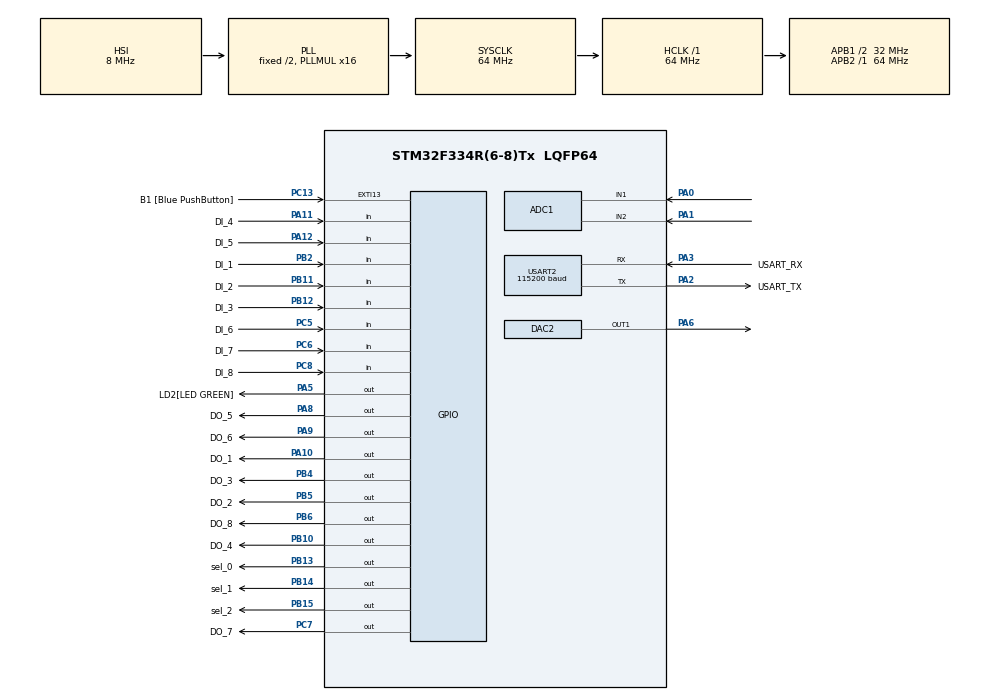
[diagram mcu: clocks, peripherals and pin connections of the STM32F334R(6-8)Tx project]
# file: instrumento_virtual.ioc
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ADC1.Channel-2\#ChannelRegularConversion=ADC_CHANNEL_1
ADC1.NbrOfConversionFlag=1
ADC1.Offset-2\#ChannelRegularConversion=0
ADC1.OffsetNumber-2\#ChannelRegularConversion=ADC_OFFSET_NONE
ADC1.Rank-2\#ChannelRegularConversion=1
ADC1.SamplingTime-2\#ChannelRegularConversion=ADC_SAMPLETIME_1CYCLE_5
ADC1.SubFamily=STM32F334x8
ADC1.master=1
Dma.Request0=USART2_TX
Dma.USART2_TX.0.Direction=DMA_MEMORY_TO_PERIPH
Dma.USART2_TX.0.Instance=DMA1_Channel7
Dma.USART2_TX.0.MemDataAlignment=DMA_MDATAALIGN_BYTE
Dma.USART2_TX.0.MemInc=DMA_MINC_ENABLE
Dma.USART2_TX.0.Mode=DMA_NORMAL
Dma.USART2_TX.0.PeriphDataAlignment=DMA_PDATAALIGN_BYTE
Dma.USART2_TX.0.PeriphInc=DMA_PINC_DISABLE
Dma.USART2_TX.0.Priority=DMA_PRIORITY_LOW
Mcu.Family=STM32F3
Mcu.Name=STM32F334R(6-8)Tx
Mcu.Package=LQFP64
NVIC.DMA1_Channel7_IRQn=true\:0\:0\:false\:false\:true\:true\:true\:true
NVIC.PriorityGroup=NVIC_PRIORITYGROUP_0
NVIC.TIM6_DAC1_IRQn=true\:0\:0\:false\:false\:true\:true\:true\:true
NVIC.USART2_IRQn=true\:0\:0\:false\:false\:true\:true\:true\:true
PA0.Mode=IN1-Single-Ended
PA0.Signal=ADC1_IN1
PA1.Mode=IN2-Single-Ended
PA1.Signal=ADC1_IN2
PA10.GPIO_Label=DO_1
PA10.Signal=GPIO_Output
PA11.GPIO_Label=DI_4
PA11.GPIO_PuPd=GPIO_PULLDOWN
PA11.Signal=GPIO_Input
PA12.GPIO_Label=DI_5
PA12.GPIO_PuPd=GPIO_PULLDOWN
PA12.Signal=GPIO_Input
PA13.GPIO_Label=TMS
PA13.Signal=SYS_JTMS-SWDIO
PA14.GPIO_Label=TCK
PA14.Signal=SYS_JTCK-SWCLK
PA2.GPIO_Label=USART_TX
PA2.Mode=Asynchronous
PA2.Signal=USART2_TX
PA3.GPIO_Label=USART_RX
PA3.Mode=Asynchronous
PA3.Signal=USART2_RX
PA5.GPIO_Label=LD2[LED GREEN]
PA5.Signal=GPIO_Output
PA6.Signal=COMP_DAC21_group
PA8.GPIO_Label=DO_5
PA8.Signal=GPIO_Output
PA9.GPIO_Label=DO_6
PA9.Signal=GPIO_Output
PB10.GPIO_Label=DO_4
PB10.Signal=GPIO_Output
PB11.GPIO_Label=DI_2
PB11.GPIO_PuPd=GPIO_PULLDOWN
PB11.Signal=GPIO_Input
PB12.GPIO_Label=DI_3
PB12.GPIO_PuPd=GPIO_PULLDOWN
PB12.Signal=GPIO_Input
PB13.GPIO_Label=sel_0
PB13.Signal=GPIO_Output
PB14.GPIO_Label=sel_1
PB14.Signal=GPIO_Output
PB15.GPIO_Label=sel_2
PB15.Signal=GPIO_Output
PB2.GPIO_Label=DI_1
PB2.GPIO_PuPd=GPIO_PULLDOWN
PB2.Signal=GPIO_Input
PB3.GPIO_Label=SWO
PB3.Signal=SYS_JTDO-TRACESWO
PB4.GPIO_Label=DO_3
PB4.Signal=GPIO_Output
PB5.GPIO_Label=DO_2
PB5.Signal=GPIO_Output
PB6.GPIO_Label=DO_8
PB6.Signal=GPIO_Output
PC13.GPIO_Label=B1 [Blue PushButton]
PC13.GPIO_ModeDefaultEXTI=GPIO_MODE_IT_FALLING
PC13.Signal=GPXTI13
PC14\ /\ OSC32_IN.Signal=RCC_OSC32_IN
PC15\ /\ OSC32_OUT.GPIO_Label=RCC_OSC32_OUT
PC15\ /\ OSC32_OUT.Signal=RCC_OSC32_OUT
PC5.GPIO_Label=DI_6
PC5.GPIO_PuPd=GPIO_PULLDOWN
PC5.Signal=GPIO_Input
PC6.GPIO_Label=DI_7
PC6.GPIO_PuPd=GPIO_PULLDOWN
PC6.Signal=GPIO_Input
PC7.GPIO_Label=DO_7
PC7.Signal=GPIO_Output
PC8.GPIO_Label=DI_8
PC8.GPIO_PuPd=GPIO_PULLDOWN
PC8.Signal=GPIO_Input
PF0\ /\ OSC_IN.Signal=RCC_OSC_IN
PF1\ /\ OSC_OUT.Signal=RCC_OSC_OUT
ProjectManager.HeapSize=0x200
ProjectManager.StackSize=0x400
ProjectManager.TargetToolchain=STM32CubeIDE
RCC.AHBFreq_Value=64000000
RCC.APB1CLKDivider=RCC_HCLK_DIV2
RCC.APB1Freq_Value=32000000
RCC.APB1TimFreq_Value=64000000
RCC.APB2Freq_Value=64000000
RCC.APB2TimFreq_Value=64000000
RCC.CortexFreq_Value=64000000
RCC.FLatency-AdvancedSettings=FLASH_LATENCY_2
RCC.HCLKFreq_Value=64000000
RCC.HSE_VALUE=8000000
RCC.HSI_VALUE=8000000
RCC.LSE_VALUE=32768
RCC.PLLMUL=RCC_PLL_MUL16
RCC.SYSCLKFreq_VALUE=64000000
RCC.SYSCLKSourceVirtual=RCC_SYSCLKSOURCE_PLLCLK
SH.COMP_DAC21_group.0=DAC2_OUT1,Switch_Enable_OUT1
TIM6.AutoReloadPreload=TIM_AUTORELOAD_PRELOAD_ENABLE
TIM6.Period=64000
USART2.BaudRate=115200
USART2.VirtualMode-Asynchronous=VM_ASYNC
VP_TIM6_VS_ClockSourceINT.Mode=Enable_Timer
board=NUCLEO-F334R8

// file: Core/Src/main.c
/* USER CODE BEGIN Header */
/**
  ******************************************************************************
  * @file           : main.c
  * @brief          : Main program body
  ******************************************************************************
  * @attention
  *
  * Copyright (c) 2023 STMicroelectronics.
  * All rights reserved.
  *
  * This software is licensed under terms that can be found in the LICENSE file
  * in the root directory of this software component.
  * If no LICENSE file comes with this software, it is provided AS-IS.
  *
  ******************************************************************************
  */

/* USER CODE END Header */
#include "main.h"

/* USER CODE BEGIN Includes */
#include <string.h>
#include <stdio.h>
#include <stdlib.h>
/* USER CODE END Includes */

/* USER CODE BEGIN PD */
#define rx_buffer_size 6
/* USER CODE END PD */

ADC_HandleTypeDef hadc1;

DAC_HandleTypeDef hdac2;

TIM_HandleTypeDef htim6;

UART_HandleTypeDef huart2;
DMA_HandleTypeDef hdma_usart2_tx;

/* USER CODE BEGIN PV */

uint32_t adc_val[8]; //value of adc inputs
uint16_t dac_val[2];//value of dac outputs
uint8_t digital_In; //value of digital inputs
uint8_t digital_Out;//value of digital output
uint8_t uart_rx_buffer[rx_buffer_size];

/* USER CODE END PV */

void SystemClock_Config(void);
static void MX_GPIO_Init(void);
static void MX_DMA_Init(void);
static void MX_USART2_UART_Init(void);
static void MX_TIM6_Init(void);
static void MX_ADC1_Init(void);
static void MX_DAC2_Init(void);
/* USER CODE BEGIN PFP */
void stream_send(uint8_t );
void intArrayToString(uint32_t[], char *, int );
uint8_t  calcular_crc8(uint8_t *, uint8_t);
/* USER CODE END PFP */

int main(void)
{

  /* MCU Configuration--------------------------------------------------------*/

  /* Reset of all peripherals, Initializes the Flash interface and the Systick. */
  HAL_Init();

  /* USER CODE BEGIN Init */
  GPIOB->ODR=4096;
  /* USER CODE END Init */

  /* Configure the system clock */
  SystemClock_Config();

  /* Initialize all configured peripherals */
  MX_GPIO_Init();
  MX_DMA_Init();
  MX_USART2_UART_Init();
  MX_TIM6_Init();
  MX_ADC1_Init();
  MX_DAC2_Init();
  /* USER CODE BEGIN 2 */

  /******Enable timers**********/
 HAL_TIM_Base_Start_IT(&htim6);
 HAL_UART_Receive_IT(&huart2, uart_rx_buffer,rx_buffer_size);
  SystemCoreClockUpdate();
  /***************************/
/*
  SysTick_Config(SystemCoreClock/1);// set systick interrupt at 1khz
  SysTick->CTRL=0;
  SysTick->VAL=0;
  SysTick->CTRL=(SysTick_CTRL_TICKINT_Msk|SysTick_CTRL_ENABLE_Msk|SysTick_CTRL_CLKSOURCE_Msk);

 */

 // digital_write(2);

  //write in digital outputs  PA10, PB5, PB4, PB10, PA8, PA9, PC7 , PB6

  /* USER CODE END 2 */

  /* Infinite loop */
  while (1)
  {

	  }
}

void SystemClock_Config(void)
{
  RCC_OscInitTypeDef RCC_OscInitStruct = {0};
  RCC_ClkInitTypeDef RCC_ClkInitStruct = {0};
  RCC_PeriphCLKInitTypeDef PeriphClkInit = {0};

  /** Initializes the RCC Oscillators according to the specified parameters
  * in the RCC_OscInitTypeDef structure.
  */
  RCC_OscInitStruct.OscillatorType = RCC_OSCILLATORTYPE_HSI;
  RCC_OscInitStruct.HSIState = RCC_HSI_ON;
  RCC_OscInitStruct.HSICalibrationValue = RCC_HSICALIBRATION_DEFAULT;
  RCC_OscInitStruct.PLL.PLLState = RCC_PLL_ON;
  RCC_OscInitStruct.PLL.PLLSource = RCC_PLLSOURCE_HSI;
  RCC_OscInitStruct.PLL.PLLMUL = RCC_PLL_MUL16;
  if (HAL_RCC_OscConfig(&RCC_OscInitStruct) != HAL_OK)
  {
    Error_Handler();
  }

  /** Initializes the CPU, AHB and APB buses clocks
  */
  RCC_ClkInitStruct.ClockType = RCC_CLOCKTYPE_HCLK|RCC_CLOCKTYPE_SYSCLK
                              |RCC_CLOCKTYPE_PCLK1|RCC_CLOCKTYPE_PCLK2;
  RCC_ClkInitStruct.SYSCLKSource = RCC_SYSCLKSOURCE_PLLCLK;
  RCC_ClkInitStruct.AHBCLKDivider = RCC_SYSCLK_DIV1;
  RCC_ClkInitStruct.APB1CLKDivider = RCC_HCLK_DIV2;
  RCC_ClkInitStruct.APB2CLKDivider = RCC_HCLK_DIV1;

  if (HAL_RCC_ClockConfig(&RCC_ClkInitStruct, FLASH_LATENCY_2) != HAL_OK)
  {
    Error_Handler();
  }
  PeriphClkInit.PeriphClockSelection = RCC_PERIPHCLK_ADC12;
  PeriphClkInit.Adc12ClockSelection = RCC_ADC12PLLCLK_DIV1;
  if (HAL_RCCEx_PeriphCLKConfig(&PeriphClkInit) != HAL_OK)
  {
    Error_Handler();
  }
}

static void MX_ADC1_Init(void)
{

  ADC_MultiModeTypeDef multimode = {0};
  ADC_ChannelConfTypeDef sConfig = {0};

  /** Common config
  */
  hadc1.Instance = ADC1;
  hadc1.Init.ClockPrescaler = ADC_CLOCK_ASYNC_DIV1;
  hadc1.Init.Resolution = ADC_RESOLUTION_12B;
  hadc1.Init.ScanConvMode = ADC_SCAN_DISABLE;
  hadc1.Init.ContinuousConvMode = DISABLE;
  hadc1.Init.DiscontinuousConvMode = DISABLE;
  hadc1.Init.ExternalTrigConvEdge = ADC_EXTERNALTRIGCONVEDGE_NONE;
  hadc1.Init.ExternalTrigConv = ADC_SOFTWARE_START;
  hadc1.Init.DataAlign = ADC_DATAALIGN_RIGHT;
  hadc1.Init.NbrOfConversion = 1;
  hadc1.Init.DMAContinuousRequests = DISABLE;
  hadc1.Init.EOCSelection = ADC_EOC_SINGLE_CONV;
  hadc1.Init.LowPowerAutoWait = DISABLE;
  hadc1.Init.Overrun = ADC_OVR_DATA_OVERWRITTEN;
  if (HAL_ADC_Init(&hadc1) != HAL_OK)
  {
    Error_Handler();
  }

  /** Configure the ADC multi-mode
  */
  multimode.Mode = ADC_MODE_INDEPENDENT;
  if (HAL_ADCEx_MultiModeConfigChannel(&hadc1, &multimode) != HAL_OK)
  {
    Error_Handler();
  }

  /** Configure Regular Channel
  */
  sConfig.Channel = ADC_CHANNEL_1;
  sConfig.Rank = ADC_REGULAR_RANK_1;
  sConfig.SingleDiff = ADC_SINGLE_ENDED;
  sConfig.SamplingTime = ADC_SAMPLETIME_1CYCLE_5;
  sConfig.OffsetNumber = ADC_OFFSET_NONE;
  sConfig.Offset = 0;
  if (HAL_ADC_ConfigChannel(&hadc1, &sConfig) != HAL_OK)
  {
    Error_Handler();
  }

}

static void MX_DAC2_Init(void)
{

  DAC_ChannelConfTypeDef sConfig = {0};

  /** DAC Initialization
  */
  hdac2.Instance = DAC2;
  if (HAL_DAC_Init(&hdac2) != HAL_OK)
  {
    Error_Handler();
  }

  /** DAC channel OUT1 config
  */
  sConfig.DAC_Trigger = DAC_TRIGGER_NONE;
  sConfig.DAC_OutputSwitch = DAC_OUTPUTSWITCH_ENABLE;
  if (HAL_DAC_ConfigChannel(&hdac2, &sConfig, DAC_CHANNEL_1) != HAL_OK)
  {
    Error_Handler();
  }

}

static void MX_TIM6_Init(void)
{

  TIM_MasterConfigTypeDef sMasterConfig = {0};

  htim6.Instance = TIM6;
  htim6.Init.Prescaler = 0;
  htim6.Init.CounterMode = TIM_COUNTERMODE_UP;
  htim6.Init.Period = 64000;
  htim6.Init.AutoReloadPreload = TIM_AUTORELOAD_PRELOAD_ENABLE;
  if (HAL_TIM_Base_Init(&htim6) != HAL_OK)
  {
    Error_Handler();
  }
  sMasterConfig.MasterOutputTrigger = TIM_TRGO_RESET;
  sMasterConfig.MasterSlaveMode = TIM_MASTERSLAVEMODE_DISABLE;
  if (HAL_TIMEx_MasterConfigSynchronization(&htim6, &sMasterConfig) != HAL_OK)
  {
    Error_Handler();
  }

}

static void MX_USART2_UART_Init(void)
{

  huart2.Instance = USART2;
  huart2.Init.BaudRate = 115200;
  huart2.Init.WordLength = UART_WORDLENGTH_8B;
  huart2.Init.StopBits = UART_STOPBITS_1;
  huart2.Init.Parity = UART_PARITY_NONE;
  huart2.Init.Mode = UART_MODE_TX_RX;
  huart2.Init.HwFlowCtl = UART_HWCONTROL_NONE;
  huart2.Init.OverSampling = UART_OVERSAMPLING_16;
  huart2.Init.OneBitSampling = UART_ONE_BIT_SAMPLE_DISABLE;
  huart2.AdvancedInit.AdvFeatureInit = UART_ADVFEATURE_NO_INIT;
  if (HAL_UART_Init(&huart2) != HAL_OK)
  {
    Error_Handler();
  }
  /* USER CODE BEGIN USART2_Init 2 */
  HAL_NVIC_SetPriority(USART2_IRQn, 0, 0);
  HAL_NVIC_EnableIRQ(USART2_IRQn);
  /* USER CODE END USART2_Init 2 */

}

static void MX_DMA_Init(void)
{

  /* DMA controller clock enable */
  __HAL_RCC_DMA1_CLK_ENABLE();

  /* DMA interrupt init */
  /* DMA1_Channel7_IRQn interrupt configuration */
  HAL_NVIC_SetPriority(DMA1_Channel7_IRQn, 0, 0);
  HAL_NVIC_EnableIRQ(DMA1_Channel7_IRQn);

}

static void MX_GPIO_Init(void)
{
  GPIO_InitTypeDef GPIO_InitStruct = {0};

  /* GPIO Ports Clock Enable */
  __HAL_RCC_GPIOC_CLK_ENABLE();
  __HAL_RCC_GPIOF_CLK_ENABLE();
  __HAL_RCC_GPIOA_CLK_ENABLE();
  __HAL_RCC_GPIOB_CLK_ENABLE();

  /*Configure GPIO pin Output Level */
  HAL_GPIO_WritePin(GPIOA, LD2_Pin|DO_5_Pin|DO_6_Pin|DO_1_Pin, GPIO_PIN_RESET);

  /*Configure GPIO pin Output Level */
  HAL_GPIO_WritePin(GPIOB, DO_4_Pin|sel_0_Pin|sel_1_Pin|sel_2_Pin
                          |DO_3_Pin|DO_2_Pin|DO_8_Pin, GPIO_PIN_RESET);

  /*Configure GPIO pin Output Level */
  HAL_GPIO_WritePin(DO_7_GPIO_Port, DO_7_Pin, GPIO_PIN_RESET);

  /*Configure GPIO pin : B1_Pin */
  GPIO_InitStruct.Pin = B1_Pin;
  GPIO_InitStruct.Mode = GPIO_MODE_IT_FALLING;
  GPIO_InitStruct.Pull = GPIO_NOPULL;
  HAL_GPIO_Init(B1_GPIO_Port, &GPIO_InitStruct);

  /*Configure GPIO pins : LD2_Pin DO_5_Pin DO_6_Pin DO_1_Pin */
  GPIO_InitStruct.Pin = LD2_Pin|DO_5_Pin|DO_6_Pin|DO_1_Pin;
  GPIO_InitStruct.Mode = GPIO_MODE_OUTPUT_PP;
  GPIO_InitStruct.Pull = GPIO_NOPULL;
  GPIO_InitStruct.Speed = GPIO_SPEED_FREQ_LOW;
  HAL_GPIO_Init(GPIOA, &GPIO_InitStruct);

  /*Configure GPIO pins : DI_6_Pin DI_7_Pin DI_8_Pin */
  GPIO_InitStruct.Pin = DI_6_Pin|DI_7_Pin|DI_8_Pin;
  GPIO_InitStruct.Mode = GPIO_MODE_INPUT;
  GPIO_InitStruct.Pull = GPIO_PULLDOWN;
  HAL_GPIO_Init(GPIOC, &GPIO_InitStruct);

  /*Configure GPIO pins : DI_1_Pin DI_2_Pin DI_3_Pin */
  GPIO_InitStruct.Pin = DI_1_Pin|DI_2_Pin|DI_3_Pin;
  GPIO_InitStruct.Mode = GPIO_MODE_INPUT;
  GPIO_InitStruct.Pull = GPIO_PULLDOWN;
  HAL_GPIO_Init(GPIOB, &GPIO_InitStruct);

  /*Configure GPIO pins : DO_4_Pin sel_0_Pin sel_1_Pin sel_2_Pin
                           DO_3_Pin DO_2_Pin DO_8_Pin */
  GPIO_InitStruct.Pin = DO_4_Pin|sel_0_Pin|sel_1_Pin|sel_2_Pin
                          |DO_3_Pin|DO_2_Pin|DO_8_Pin;
  GPIO_InitStruct.Mode = GPIO_MODE_OUTPUT_PP;
  GPIO_InitStruct.Pull = GPIO_NOPULL;
  GPIO_InitStruct.Speed = GPIO_SPEED_FREQ_LOW;
  HAL_GPIO_Init(GPIOB, &GPIO_InitStruct);

  /*Configure GPIO pin : DO_7_Pin */
  GPIO_InitStruct.Pin = DO_7_Pin;
  GPIO_InitStruct.Mode = GPIO_MODE_OUTPUT_PP;
  GPIO_InitStruct.Pull = GPIO_NOPULL;
  GPIO_InitStruct.Speed = GPIO_SPEED_FREQ_LOW;
  HAL_GPIO_Init(DO_7_GPIO_Port, &GPIO_InitStruct);

  /*Configure GPIO pins : DI_4_Pin DI_5_Pin */
  GPIO_InitStruct.Pin = DI_4_Pin|DI_5_Pin;
  GPIO_InitStruct.Mode = GPIO_MODE_INPUT;
  GPIO_InitStruct.Pull = GPIO_PULLDOWN;
  HAL_GPIO_Init(GPIOA, &GPIO_InitStruct);

}

/* USER CODE BEGIN 4 */

/*
void HAL_ADC_ConvHalfCpltCallback(ADC_HandleTypeDef* hadc) {
  HAL_GPIO_WritePin(LD2_GPIO_Port, LD2_Pin, GPIO_PIN_SET);
  HAL_Delay(1000);
}*/

// Called when buffer is completely filled
void HAL_ADC_ConvCpltCallback(ADC_HandleTypeDef* hadc) {

 // count++;
}

/* this function implements a vector with 8 digital inputs and return it like 8 bit int
 * PB2, PB11, PB12, PA11, PA12, PC5, PC6, PC8 are the inputs where PB2 is the lsb
 *
 * */
uint8_t digital_read() {
    uint8_t inputVector = 0;
    inputVector |= (GPIOB->IDR & GPIO_IDR_2) ? (1 << 0) : 0; //this sentence read directly from the reg of each gpio
    inputVector |= (GPIOB->IDR & GPIO_IDR_11) ? (1 << 1) : 0;
    inputVector |= (GPIOB->IDR & GPIO_IDR_12) ? (1 << 2) : 0;
    inputVector |= (GPIOA->IDR & GPIO_IDR_11) ? (1 << 3) : 0;
    inputVector |= (GPIOA->IDR & GPIO_IDR_12) ? (1 << 4) : 0;
    inputVector |= (GPIOC->IDR & GPIO_IDR_5) ? (1 << 5) : 0;
    inputVector |= (GPIOC->IDR & GPIO_IDR_6) ? (1 << 6) : 0;
    inputVector |= (GPIOC->IDR & GPIO_IDR_8) ? (1 << 7) : 0;
    return inputVector;
}

void digital_write(uint8_t digital_output) {

    GPIOA->ODR = (GPIOA->ODR & ~GPIO_PIN_10) | ((digital_output & 0x1) ? GPIO_PIN_10 : 0);
    GPIOB->ODR = (GPIOB->ODR & ~GPIO_PIN_5) | ((digital_output & 0x2) ? GPIO_PIN_5 : 0);
    GPIOB->ODR = (GPIOB->ODR & ~GPIO_PIN_4) | ((digital_output & 0x4) ? GPIO_PIN_4 : 0);
    GPIOB->ODR = (GPIOB->ODR & ~GPIO_PIN_10) | ((digital_output & 0x8) ? GPIO_PIN_10 : 0);
    GPIOA->ODR = (GPIOA->ODR & ~GPIO_PIN_8) | ((digital_output & 0x10) ? GPIO_PIN_8 : 0);
    GPIOA->ODR = (GPIOA->ODR & ~GPIO_PIN_9) | ((digital_output & 0x20) ? GPIO_PIN_9 : 0);
    GPIOC->ODR = (GPIOC->ODR & ~GPIO_PIN_7) | ((digital_output & 0x40) ? GPIO_PIN_7 : 0);
    GPIOB->ODR = (GPIOB->ODR & ~GPIO_PIN_6) | ((digital_output & 0x80) ? GPIO_PIN_6 : 0);
}

void HAL_TIM_PeriodElapsedCallback(TIM_HandleTypeDef* htim)
{

	  static uint8_t stream_counter = 0;
	  static uint8_t counter = 0;
	    HAL_GPIO_WritePin(GPIOB, GPIO_PIN_13, (counter >> 0) & 0x01);
	    HAL_GPIO_WritePin(GPIOB, GPIO_PIN_14, (counter >> 1) & 0x01);
	    HAL_GPIO_WritePin(GPIOB, GPIO_PIN_15, (counter >> 2) & 0x01);

    HAL_ADC_Start(&hadc1); // start the adc

    HAL_ADC_PollForConversion(&hadc1, 100); // poll for conversion

    adc_val[counter] = HAL_ADC_GetValue(&hadc1)+70; // get the adc value

    HAL_ADC_Stop(&hadc1); // stop adc

    if(counter==7){

    	digital_In=digital_read();//acquire digital inputs values
    	stream_counter = (stream_counter + 1) & 0xFF;
    	stream_send(stream_counter);
    	 //HAL_UART_Transmit_DMA(&huart2, (uint8_t*)str, 41);
    }

    counter = (counter + 1) % 8;  // 3-bit counter (0 to 7)

}

void intArrayToString(uint32_t arr[], char *output, int size) {
    int i;
    for (i = 0; i < size - 1; i++) {
        sprintf(output, "%ld\t", arr[i]);
        while (*output) {
            output++;
        }
    }
    sprintf(output, "%ld\r\n", arr[size - 1]);
}

void stream_send(uint8_t stream_counter){

	/*in this function we take the data from adc and converse it to array of 32bit to concatenate 96 bits
	 * after that we save the data sorted
	 *
	 * */
	uint32_t temp_chain[3];
	static uint8_t stream_data[20]={0};

	temp_chain[0]=adc_val[0]<<20 | adc_val[1]<<8 |adc_val[2]>>4;
	temp_chain[1]=adc_val[2]<<28 | adc_val[3]<<16 |adc_val[4]<<4 |adc_val[5]>>8;
	temp_chain[2]=adc_val[5]<<24 | adc_val[6]<<12 |adc_val[7];

	stream_data[0]= 0x1B;
	stream_data[1]= stream_counter;
	  // Iniciar desde la posición 2 de la cadena
	    int j = 2;

	    // Copiar los datos en la cadena en orden big-endian
	    for (int i = 0; i < 3; i++) {
	        for (int k = 3; k >= 0; k--) {
	            stream_data[j++] = (temp_chain[i] >> (k * 8)) & 0xFF;
	        }
	    }

	stream_data[14]=digital_In;
	stream_data[15]=digital_Out;

	stream_data[16] = (dac_val[0] >> 4) & 0xFF; // Obtén los bits 11-4
	stream_data[17]= ((dac_val[0] & 0xF) << 4) | ((dac_val[1] >> 8) & 0xF); // Combina bits 3-0 de variable1 con bits 11-8 de variable2
	stream_data[18]= dac_val[1] & 0xFF; // Obtén los bits 7-0 de variable2
    stream_data[19]=calcular_crc8(stream_data,19);
	HAL_UART_Transmit_DMA(&huart2, (uint8_t*)stream_data, sizeof (stream_data));
}

uint8_t  calcular_crc8(uint8_t *cadena, uint8_t longitud) {
    // Polinomio generador CRC-8 (0x07)
    uint8_t polinomio_generador = 0x07;

    // Inicializa el registro CRC en cero
    uint8_t registro_crc = 0;

    for (uint8_t i = 0; i < longitud; i++) {

        registro_crc ^= cadena[i];

        for (uint8_t j = 0; j < 8; j++) {

            if (registro_crc & 0x80) {
                registro_crc = (registro_crc << 1) ^ polinomio_generador;

            } else {
                registro_crc <<= 1;

            }
        }
    }

    return registro_crc;
}

/* This callback is called by the HAL_UART_IRQHandler when the given number of bytes are received */
void HAL_UART_RxCpltCallback(UART_HandleTypeDef *huart)
{
  if (huart->Instance == USART2)
  {

	  digital_Out=uart_rx_buffer[2];
	  dac_val[0] = (uart_rx_buffer[3] << 4) | ((uart_rx_buffer[4]>> 4) & 0x0F); // Combina Byte1 y Byte5

	    // Extrae los bits de Char2 y Char3 para formar otro valor de 16 bits
	   dac_val[1] = ((uart_rx_buffer[4] & 0x0F) << 8) | uart_rx_buffer[5];
    /* Receive one byte in interrupt mode */
	  HAL_UART_Receive_IT(&huart2,uart_rx_buffer, rx_buffer_size);
  }
}

/* USER CODE END 4 */

void Error_Handler(void)
{
  __disable_irq();
  while (1)
  {
  }
}
